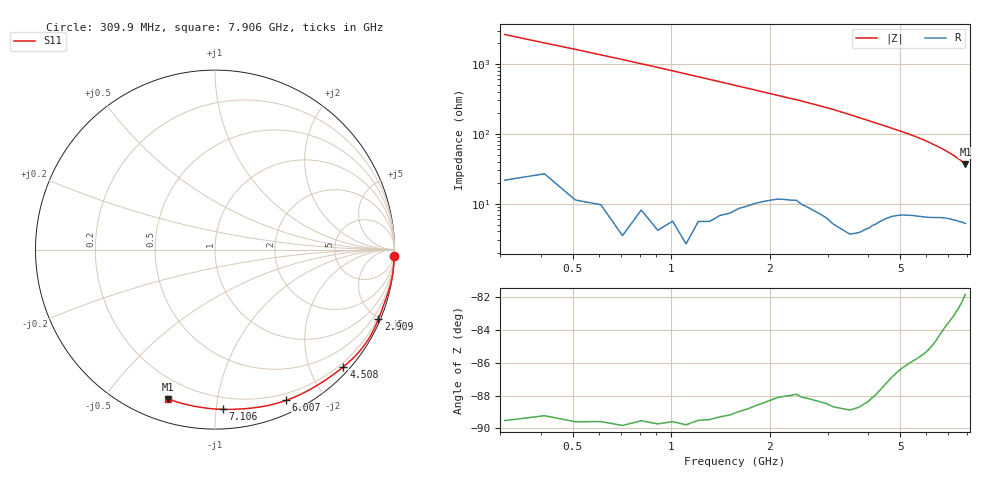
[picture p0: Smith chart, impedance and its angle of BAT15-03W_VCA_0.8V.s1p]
! Infineon Technologies  Discrete & RF Semiconductors
! BAT15-03W-E6327
! VCA = 0.8 V
! One-Port S-Parameters
# Hz  S  MA  R  50
!f  S11
!Hz  Mag  Ang
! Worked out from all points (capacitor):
!   77 points, 309.9 MHz to 7.906 GHz, reference 50 ohm
!   read as one part to ground: C = 194 fF near 309.9 MHz
!   lowest |Z| = 36.8 ohm at 7.906 GHz (marker M1)
!   S11 on the Smith chart (normalised r, x): 309.9 MHz: 0, -53; 2.909 GHz: 0.13, -4.89; 4.508 GHz: 0.12, -2.57; 6.007 GHz: 0.13, -1.57; 7.106 GHz: 0.12, -1.04; 7.906 GHz: 0.10, -0.73
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3.0985e8  0.9997 -2.2
9.0955e8  0.9995 -6.4
1.30935e9  0.9985 -9.5
1.70915e9  0.9955 -12.7
2.2089e9  0.9902 -16.8
2.4088e9  0.9886 -18.4
2.90855e9  0.9893 -23.1
3.2084e9  0.9903 -26.3
3.50825e9  0.9904 -29.7
3.70815e9  0.9884 -32.2
4.10795e9  0.9804 -37.2
4.50775e9  0.9687 -42.4
4.70765e9  0.9622 -45.0
5.10745e9  0.9509 -50.5
5.4073e9  0.9438 -54.9
5.6072e9  0.9392 -58.0
5.8071e9  0.9341 -61.3
6.007e9  0.9286 -64.8
6.2069e9  0.9223 -68.4
6.30685e9  0.919 -70.4
6.50675e9  0.9115 -74.3
6.70665e9  0.9037 -78.4
7.0065e9  0.8939 -84.8
7.10645e9  0.8913 -87.1
7.30635e9  0.8862 -91.8
7.50625e9  0.8813 -96.8
7.70615e9  0.8768 -102.0
7.90605e9  0.8723 -107.5
